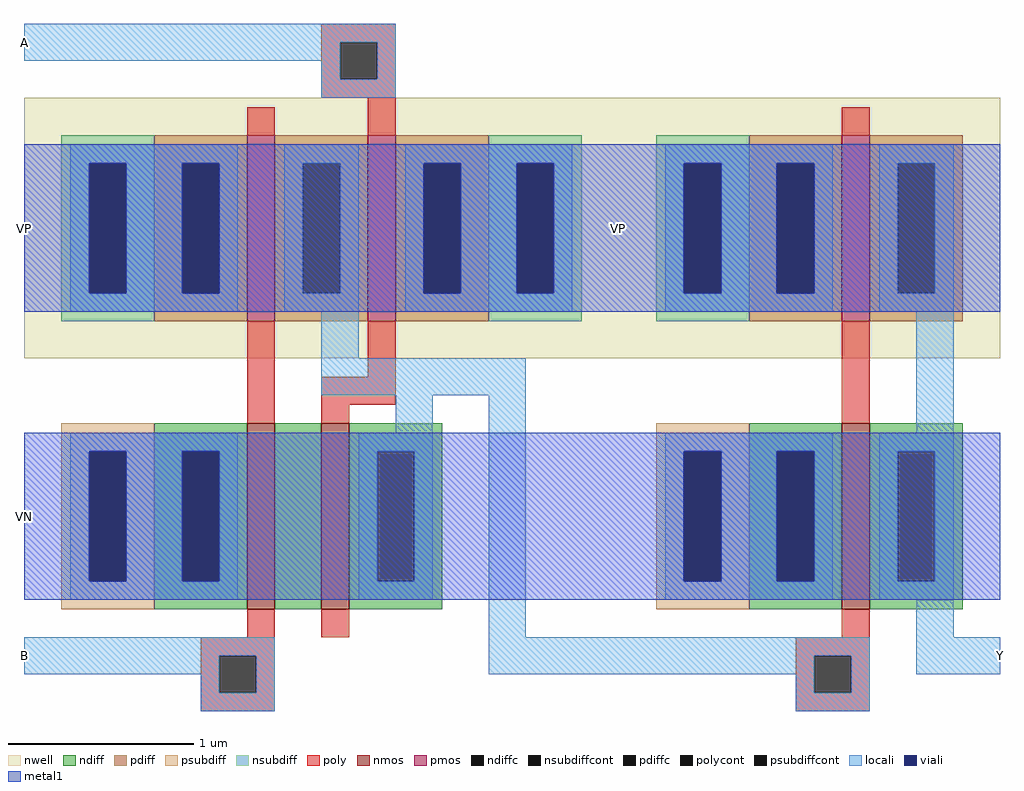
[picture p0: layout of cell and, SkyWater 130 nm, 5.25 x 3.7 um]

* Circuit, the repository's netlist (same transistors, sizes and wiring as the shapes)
* SPICE3 file created from and.ext - technology: sky130A

.subckt inverter VP VN A Y
X0 Y A VP VP sky130_fd_pr__pfet_01v8 ad=5e+11p pd=3e+06u as=5e+11p ps=3e+06u w=1e+06u l=150000u
X1 Y A VN VN sky130_fd_pr__nfet_01v8 ad=5e+11p pd=3e+06u as=5e+11p ps=3e+06u w=1e+06u l=150000u
.ends

.subckt NAND VP VN A B Y
X0 Y B VP VP sky130_fd_pr__pfet_01v8 ad=5e+11p pd=3e+06u as=1e+12p ps=6e+06u w=1e+06u l=150000u
X1 VP A Y VP sky130_fd_pr__pfet_01v8 ad=0p pd=0u as=0p ps=0u w=1e+06u l=150000u
X2 a_160_10# B VN VN sky130_fd_pr__nfet_01v8 ad=2.5e+11p pd=2.5e+06u as=5e+11p ps=3e+06u w=1e+06u l=150000u
X3 Y A a_160_10# VN sky130_fd_pr__nfet_01v8 ad=5e+11p pd=3e+06u as=0p ps=0u w=1e+06u l=150000u
.ends


* Top level circuit and

Xinverter_0 VP VN NAND_0/Y Y inverter
XNAND_0 VP VN A B NAND_0/Y NAND
.end

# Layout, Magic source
magic
tech sky130A
<< locali >>
rect 0 350 25 370
rect 0 20 25 40
rect 500 20 525 40
<< metal1 >>
rect 0 215 25 305
rect 0 60 25 150
use inverter  inverter_0
transform 1 0 375 0 1 50
box -55 -50 150 280
use NAND  NAND_0
transform 1 0 55 0 1 50
box -55 -50 265 320
<< labels >>
rlabel locali 0 360 0 360 7 A
rlabel locali 0 30 0 30 7 B
rlabel metal1 0 260 0 260 7 VP
rlabel locali 525 30 525 30 3 Y
rlabel metal1 0 105 0 105 7 VN
rlabel space 320 260 320 260 1 VP
<< end >>

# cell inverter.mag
magic
tech sky130A
<< nwell >>
rect -55 140 150 280
<< nmos >>
rect 65 5 80 105
<< pmos >>
rect 65 160 80 260
<< ndiff >>
rect 15 90 65 105
rect 15 20 30 90
rect 50 20 65 90
rect 15 5 65 20
rect 80 90 130 105
rect 80 20 95 90
rect 115 20 130 90
rect 80 5 130 20
<< pdiff >>
rect 15 245 65 260
rect 15 175 30 245
rect 50 175 65 245
rect 15 160 65 175
rect 80 245 130 260
rect 80 175 95 245
rect 115 175 130 245
rect 80 160 130 175
<< ndiffc >>
rect 30 20 50 90
rect 95 20 115 90
<< pdiffc >>
rect 30 175 50 245
rect 95 175 115 245
<< psubdiff >>
rect -35 90 15 105
rect -35 20 -20 90
rect 0 20 15 90
rect -35 5 15 20
<< nsubdiff >>
rect -35 245 15 260
rect -35 175 -20 245
rect 0 175 15 245
rect -35 160 15 175
<< psubdiffcont >>
rect -20 20 0 90
<< nsubdiffcont >>
rect -20 175 0 245
<< poly >>
rect 65 260 80 275
rect 65 105 80 160
rect 65 -10 80 5
rect 40 -20 80 -10
rect 40 -40 50 -20
rect 70 -40 80 -20
rect 40 -50 80 -40
<< polycont >>
rect 50 -40 70 -20
<< locali >>
rect -30 245 60 255
rect -30 175 -20 245
rect 0 175 30 245
rect 50 175 60 245
rect -30 165 60 175
rect 85 245 125 255
rect 85 175 95 245
rect 115 175 125 245
rect 85 165 125 175
rect 105 100 125 165
rect -30 90 60 100
rect -30 20 -20 90
rect 0 20 30 90
rect 50 20 60 90
rect -30 10 60 20
rect 85 90 125 100
rect 85 20 95 90
rect 115 20 125 90
rect 85 10 125 20
rect 105 -10 125 10
rect -55 -20 80 -10
rect -55 -30 50 -20
rect 40 -40 50 -30
rect 70 -40 80 -20
rect 105 -30 150 -10
rect 40 -50 80 -40
<< viali >>
rect -20 175 0 245
rect 30 175 50 245
rect -20 20 0 90
rect 30 20 50 90
<< metal1 >>
rect -55 245 150 255
rect -55 175 -20 245
rect 0 175 30 245
rect 50 175 150 245
rect -55 165 150 175
rect -55 90 150 100
rect -55 20 -20 90
rect 0 20 30 90
rect 50 20 150 90
rect -55 10 150 20
<< labels >>
rlabel locali -55 -20 -55 -20 7 A
port 3 w
rlabel locali 150 -20 150 -20 3 Y
port 4 e
rlabel metal1 -55 55 -55 55 7 VN
port 2 w
rlabel metal1 -55 210 -55 210 7 VP
port 1 w
<< end >>

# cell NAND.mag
magic
tech sky130A
<< nwell >>
rect -55 140 265 280
<< nmos >>
rect 65 5 80 105
rect 105 5 120 105
<< pmos >>
rect 65 160 80 260
rect 130 160 145 260
<< ndiff >>
rect 15 90 65 105
rect 15 20 30 90
rect 50 20 65 90
rect 15 5 65 20
rect 80 5 105 105
rect 120 90 170 105
rect 120 20 135 90
rect 155 20 170 90
rect 120 5 170 20
<< pdiff >>
rect 15 245 65 260
rect 15 175 30 245
rect 50 175 65 245
rect 15 160 65 175
rect 80 245 130 260
rect 80 175 95 245
rect 115 175 130 245
rect 80 160 130 175
rect 145 245 195 260
rect 145 175 160 245
rect 180 175 195 245
rect 145 160 195 175
<< ndiffc >>
rect 30 20 50 90
rect 135 20 155 90
<< pdiffc >>
rect 30 175 50 245
rect 95 175 115 245
rect 160 175 180 245
<< psubdiff >>
rect -35 90 15 105
rect -35 20 -20 90
rect 0 20 15 90
rect -35 5 15 20
<< nsubdiff >>
rect -35 245 15 260
rect -35 175 -20 245
rect 0 175 15 245
rect -35 160 15 175
rect 195 245 245 260
rect 195 175 210 245
rect 230 175 245 245
rect 195 160 245 175
<< psubdiffcont >>
rect -20 20 0 90
<< nsubdiffcont >>
rect -20 175 0 245
rect 210 175 230 245
<< poly >>
rect 105 310 145 320
rect 105 290 115 310
rect 135 290 145 310
rect 105 280 145 290
rect 65 260 80 275
rect 130 260 145 280
rect 65 105 80 160
rect 130 130 145 160
rect 105 115 145 130
rect 105 105 120 115
rect 65 -10 80 5
rect 105 -10 120 5
rect 40 -20 80 -10
rect 40 -40 50 -20
rect 70 -40 80 -20
rect 40 -50 80 -40
<< polycont >>
rect 115 290 135 310
rect 50 -40 70 -20
<< locali >>
rect -55 310 145 320
rect -55 300 115 310
rect 105 290 115 300
rect 135 290 145 310
rect 105 280 145 290
rect -30 245 60 255
rect -30 175 -20 245
rect 0 175 30 245
rect 50 175 60 245
rect -30 165 60 175
rect 85 245 125 255
rect 85 175 95 245
rect 115 175 125 245
rect 85 165 125 175
rect 150 245 240 255
rect 150 175 160 245
rect 180 175 210 245
rect 230 175 240 245
rect 150 165 240 175
rect 105 140 125 165
rect 105 120 215 140
rect 145 100 165 120
rect -30 90 60 100
rect -30 20 -20 90
rect 0 20 30 90
rect 50 20 60 90
rect -30 10 60 20
rect 125 90 165 100
rect 125 20 135 90
rect 155 20 165 90
rect 125 10 165 20
rect 195 -10 215 120
rect -55 -20 80 -10
rect -55 -30 50 -20
rect 40 -40 50 -30
rect 70 -40 80 -20
rect 195 -30 265 -10
rect 40 -50 80 -40
<< viali >>
rect -20 175 0 245
rect 30 175 50 245
rect 160 175 180 245
rect 210 175 230 245
rect -20 20 0 90
rect 30 20 50 90
<< metal1 >>
rect -55 245 265 255
rect -55 175 -20 245
rect 0 175 30 245
rect 50 175 160 245
rect 180 175 210 245
rect 230 175 265 245
rect -55 165 265 175
rect -55 90 265 100
rect -55 20 -20 90
rect 0 20 30 90
rect 50 20 265 90
rect -55 10 265 20
<< labels >>
rlabel metal1 -55 210 -55 210 7 VP
port 1 w
rlabel metal1 -55 55 -55 55 7 VN
port 2 w
rlabel locali -55 310 -55 310 7 A
port 3 w
rlabel locali -55 -20 -55 -20 7 B
port 4 w
rlabel locali 265 -20 265 -20 3 Y
port 5 e
<< end >>
